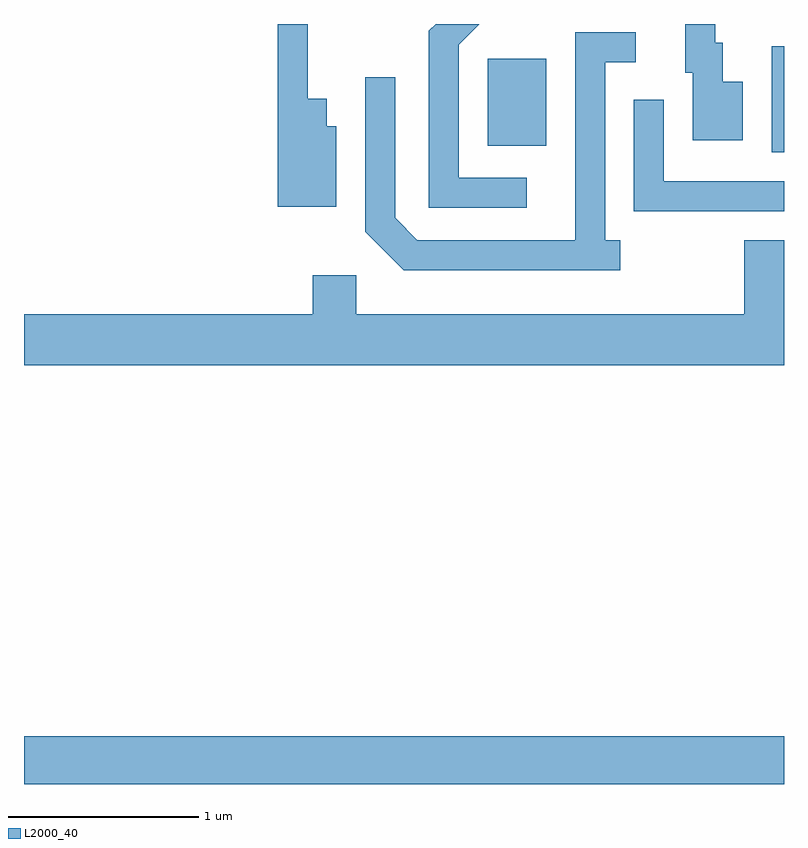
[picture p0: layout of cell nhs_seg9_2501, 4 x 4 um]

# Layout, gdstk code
import gdstk
lib = gdstk.Library(unit=1e-6, precision=1e-09)
def R(c, l, rs):  # rectangles x0, y0, x1, y1
    for r in rs: c.add(gdstk.rectangle(r[:2], r[2:], *l))
def P(c, l, *ps):  # polygons
    for p in ps: c.add(gdstk.Polygon(p, *l))
L2000_40 = (2000, 40)

nhs_seg9_2501 = lib.new_cell('nhs_seg9_2501')
R(nhs_seg9_2501, L2000_40, [(257.611,2058.432,261.611,2058.684), (261.546,2061.756,261.611,2062.314), (260.051,2061.791,260.359,2062.249)])
P(nhs_seg9_2501, L2000_40, [(260.258,2061.624),(259.899,2061.624),(259.899,2062.324),(260.007,2062.432),(259.777,2062.432),(259.741,2062.396),(259.741,2061.466),(260.258,2061.466)],
  [(261.394,2062.129),(261.289,2062.129),(261.289,2062.334),(261.249,2062.334),(261.249,2062.432),(261.091,2062.432),(261.091,2062.176),(261.131,2062.176),(261.131,2061.821),(261.394,2061.821)],
  [(259.254,2061.894),(259.204,2061.894),(259.204,2062.039),(259.104,2062.039),(259.104,2062.432),(258.946,2062.432),(258.946,2061.471),(259.254,2061.471)],
  [(260.748,2061.294),(260.669,2061.294),(260.669,2062.231),(260.832,2062.231),(260.832,2062.389),(260.511,2062.389),(260.511,2061.294),(259.682,2061.294),(259.564,2061.412),(259.564,2062.153),(259.406,2062.153),(259.406,2061.338),(259.609,2061.136),(260.748,2061.136)],
  [(261.611,2061.604),(260.979,2061.604),(260.979,2062.033),(260.821,2062.033),(260.821,2061.446),(261.611,2061.446)],
  [(261.611,2061.294),(261.401,2061.294),(261.401,2060.904),(259.359,2060.904),(259.359,2061.109),(259.131,2061.109),(259.131,2060.904),(257.611,2060.904),(257.611,2060.636),(261.611,2060.636)])

lib.write_gds('nhs_seg9_2501.gds')
